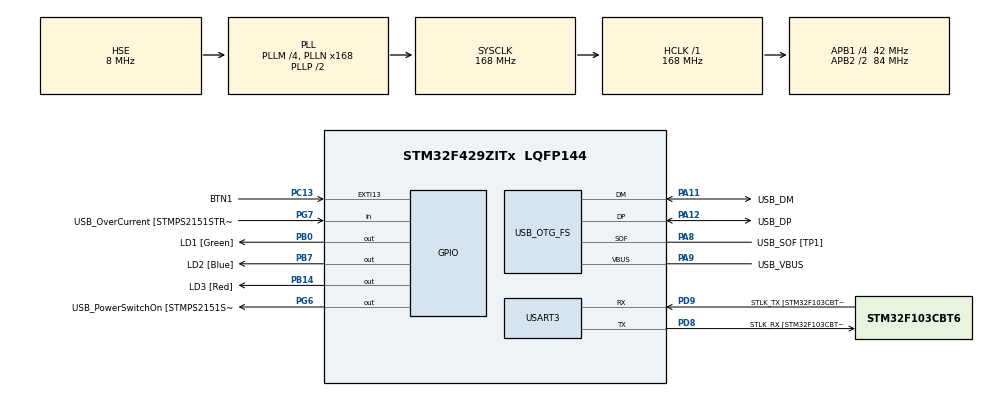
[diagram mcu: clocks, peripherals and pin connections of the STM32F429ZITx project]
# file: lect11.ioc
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Mcu.Family=STM32F4
Mcu.Name=STM32F429ZITx
Mcu.Package=LQFP144
NVIC.OTG_FS_IRQn=true\:0\:0\:false\:false\:true\:false\:true\:true
NVIC.PriorityGroup=NVIC_PRIORITYGROUP_4
PA1.GPIO_Label=RMII_REF_CLK [LAN8742A-CZ-TR_REFCLK0]
PA1.Signal=ETH_REF_CLK
PA10.GPIO_Label=USB_ID
PA10.Signal=USB_OTG_FS_ID
PA11.GPIO_Label=USB_DM
PA11.Mode=Device_Only
PA11.Signal=USB_OTG_FS_DM
PA12.GPIO_Label=USB_DP
PA12.Mode=Device_Only
PA12.Signal=USB_OTG_FS_DP
PA13.GPIO_Label=TMS
PA13.Mode=Serial_Wire
PA13.Signal=SYS_JTMS-SWDIO
PA14.GPIO_Label=TCK
PA14.Mode=Serial_Wire
PA14.Signal=SYS_JTCK-SWCLK
PA2.GPIO_Label=RMII_MDIO [LAN8742A-CZ-TR_MDIO]
PA2.Signal=ETH_MDIO
PA7.GPIO_Label=RMII_CRS_DV [LAN8742A-CZ-TR_CRS_DV]
PA7.Signal=ETH_CRS_DV
PA8.GPIO_Label=USB_SOF [TP1]
PA8.Mode=Activate_SOF_FS
PA8.Signal=USB_OTG_FS_SOF
PA9.GPIO_Label=USB_VBUS
PA9.Mode=Activate_VBUS
PA9.Signal=USB_OTG_FS_VBUS
PB0.GPIO_Label=LD1 [Green]
PB0.Signal=GPIO_Output
PB13.GPIO_Label=RMII_TXD1 [LAN8742A-CZ-TR_TXD1]
PB13.Signal=ETH_TXD1
PB14.GPIO_Label=LD3 [Red]
PB14.Signal=GPIO_Output
PB7.GPIO_Label=LD2 [Blue]
PB7.Signal=GPIO_Output
PC1.GPIO_Label=RMII_MDC [LAN8742A-CZ-TR_MDC]
PC1.Signal=ETH_MDC
PC13.GPIO_Label=BTN1
PC13.Signal=GPXTI13
PC14/OSC32_IN.Mode=LSE-External-Oscillator
PC14/OSC32_IN.Signal=RCC_OSC32_IN
PC15/OSC32_OUT.Mode=LSE-External-Oscillator
PC15/OSC32_OUT.Signal=RCC_OSC32_OUT
PC4.GPIO_Label=RMII_RXD0 [LAN8742A-CZ-TR_RXD0]
PC4.Signal=ETH_RXD0
PC5.GPIO_Label=RMII_RXD1 [LAN8742A-CZ-TR_RXD1]
PC5.Signal=ETH_RXD1
PD8.GPIO_Label=STLK_RX [STM32F103CBT6_PA3]
PD8.Mode=Asynchronous
PD8.Signal=USART3_TX
PD9.GPIO_Label=STLK_TX [STM32F103CBT6_PA2]
PD9.Mode=Asynchronous
PD9.Signal=USART3_RX
PG11.GPIO_Label=RMII_TX_EN [LAN8742A-CZ-TR_TXEN]
PG11.Signal=ETH_TX_EN
PG13.GPIO_Label=RMII_TXD0 [LAN8742A-CZ-TR_TXD0]
PG13.Signal=ETH_TXD0
PG6.GPIO_Label=USB_PowerSwitchOn [STMPS2151STR_EN]
PG6.Signal=GPIO_Output
PG7.GPIO_Label=USB_OverCurrent [STMPS2151STR_FAULT]
PG7.Signal=GPIO_Input
PH0/OSC_IN.GPIO_Label=MCO [STM32F103CBT6_PA8]
PH0/OSC_IN.Mode=HSE-External-Clock-Source
PH0/OSC_IN.Signal=RCC_OSC_IN
PH1/OSC_OUT.Mode=HSE-External-Clock-Source
PH1/OSC_OUT.Signal=RCC_OSC_OUT
ProjectManager.HeapSize=0x200
ProjectManager.StackSize=0x400
ProjectManager.TargetToolchain=STM32CubeIDE
RCC.48MHZClocksFreq_Value=48000000
RCC.AHBFreq_Value=168000000
RCC.APB1CLKDivider=RCC_HCLK_DIV4
RCC.APB1Freq_Value=42000000
RCC.APB1TimFreq_Value=84000000
RCC.APB2CLKDivider=RCC_HCLK_DIV2
RCC.APB2Freq_Value=84000000
RCC.APB2TimCLKDivider=2
RCC.APB2TimFreq_Value=168000000
RCC.CortexFreq_Value=168000000
RCC.HCLKFreq_Value=168000000
RCC.HSE_VALUE=8000000
RCC.HSI_VALUE=16000000
RCC.PLLM=4
RCC.PLLMUL=RCC_PLL_MUL9
RCC.PLLN=168
RCC.PLLQ=7
RCC.PRESCALERUSB=RCC_USBCLKSOURCE_PLL_DIV1_5
RCC.SYSCLKFreq_VALUE=168000000
RCC.SYSCLKSource=RCC_SYSCLKSOURCE_PLLCLK
RCC.SYSCLKSourceVirtual=RCC_SYSCLKSOURCE_PLLCLK
RCC.USBFreq_Value=48000000
RCC.VCOOutputFreq_Value=336000000
USART3.VirtualMode=VM_ASYNC
USB_DEVICE.CLASS_NAME_FS=HID
USB_DEVICE.VirtualMode-HID_FS=Hid
USB_DEVICE.VirtualModeFS=Hid_FS
USB_OTG_FS.VirtualMode=Device_Only
VP_USB_DEVICE_VS_USB_DEVICE_HID_FS.Mode=HID_FS
board=NUCLEO-F429ZI

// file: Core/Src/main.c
/* USER CODE BEGIN Header */
/**
 ******************************************************************************
 * @file           : main.c
 * @brief          : Main program body
 ******************************************************************************
 * @attention
 *
 * Copyright (c) 2024 STMicroelectronics.
 * All rights reserved.
 *
 * This software is licensed under terms that can be found in the LICENSE file
 * in the root directory of this software component.
 * If no LICENSE file comes with this software, it is provided AS-IS.
 *
 ******************************************************************************
 */
/* USER CODE END Header */
#include "main.h"
#include "usb_device.h"

/* USER CODE BEGIN Includes */
#include "usbd_hid.h"
#include "math.h"
/* USER CODE END Includes */

UART_HandleTypeDef huart3;

/* USER CODE BEGIN PV */
extern USBD_HandleTypeDef hUsbDeviceFS;
/* USER CODE END PV */

void SystemClock_Config(void);
static void MX_GPIO_Init(void);
static void MX_USART3_UART_Init(void);

/* USER CODE BEGIN 0 */
void step(int x, int y, uint8_t btn){
	uint8_t buff[4];
	buff[0] = 0x00 | btn; // stiskni leve tlacitko
	buff[1] = (int8_t)(x); // posun X +10
	buff[2] = (int8_t)(y); // posun Y -3
	buff[3] = 0; // bez scrollu
	USBD_HID_SendReport(&hUsbDeviceFS, buff, sizeof(buff));
	HAL_Delay(USBD_HID_GetPollingInterval(&hUsbDeviceFS));
}
void draw_circle(float radius, int px, int py){

	int xx = px;
	int yy = py;

	float x = 0;
	float y = 0;

	for (int i =0; i <= 360;i++){
		x = radius * cos(i*(M_PI/180));
		y = radius * sin(i*(M_PI/180));

		xx = xx - round(x);
		yy = yy - round(y);

		step(x,y,0x01);
	}
	step(0,0,0);

}

void draw_semi_circle(float radius, int px, int py,int startDeg, int stopDeg){

	step(px,py,0);
	int xx = px;
	int yy = py;

	float x = 0;
	float y = 0;

	for (int i =startDeg-1; i <= stopDeg;i++){
		x = radius * cos(i*(M_PI/180));
		y = radius * sin(i*(M_PI/180));

		xx = xx - round(x);
		yy = yy - round(y);

		step(x,y,0x01);
	}
	step(0,0,0);

}
void draw_line(int len, int px, int py,uint8_t vert){
	int x = px;
	int y = py;

	step(px,py,0);

	step(x,y,1);
	if (vert){
		y+=len;
	}else{
		x+=len;
	}
	step(x,y,1);
	step(0,0,0);
}
void mouse(int len, int px, int py,uint8_t vert){
	int x = px;
	int y = py;

	step(px,py,0);

	step(x,y,0);
	if (vert){
		y+=len;
	}else{
		x+=len;
	}
	step(x,y,0);
	step(0,0,0);
}

/* USER CODE END 0 */

int main(void)
{

	/* MCU Configuration--------------------------------------------------------*/

	/* Reset of all peripherals, Initializes the Flash interface and the Systick. */
	HAL_Init();

	/* Configure the system clock */
	SystemClock_Config();

	/* Initialize all configured peripherals */
	MX_GPIO_Init();
	MX_USART3_UART_Init();
	MX_USB_DEVICE_Init();

	/* Infinite loop */
	/* USER CODE BEGIN WHILE */
	while (1)
	{

		if (HAL_GPIO_ReadPin(BTN1_GPIO_Port, BTN1_Pin)){

			draw_circle(6,0,0);
			mouse(0, -20, 15, 1);
			//mouse(5, -15, 5, 0);
			draw_circle(2,0,0);
			mouse(0, 35, 0, 1);
			draw_circle(2,0,0);
			mouse(0, -20, 15, 1);
			draw_line(50,0,0,1);
			mouse(0, 20, 20, 1);
			draw_semi_circle(4, 0, 0,120,250);
			draw_line(100,0,0,0);
			draw_line(40,0,0,0);
			draw_line(10,0,0,1);
			mouse(-10,0,0,1);
			mouse(-100,0,0,0);
			mouse(20,0,0,0);
			draw_line(20,0,0,1);
			draw_line(20,0,0,0);
			mouse(-20,0,0,1);
			draw_line(20,0,0,1);
			mouse(-20,0,0,1);
			mouse(20,0,0,0);
			draw_line(20,0,0,1);
			draw_line(20,0,0,0);
			mouse(-20,0,0,1);
			draw_line(20,0,0,1);

			//draw_line(100,0,0,0);
			//mouse(5, 15, 0, 0);
			//draw_line(10,0,10,0);

		}
		/* USER CODE END WHILE */

	}
}

void SystemClock_Config(void)
{
	RCC_OscInitTypeDef RCC_OscInitStruct = {0};
	RCC_ClkInitTypeDef RCC_ClkInitStruct = {0};

	/** Configure the main internal regulator output voltage
	 */
	__HAL_RCC_PWR_CLK_ENABLE();
	__HAL_PWR_VOLTAGESCALING_CONFIG(PWR_REGULATOR_VOLTAGE_SCALE1);

	/** Initializes the RCC Oscillators according to the specified parameters
	 * in the RCC_OscInitTypeDef structure.
	 */
	RCC_OscInitStruct.OscillatorType = RCC_OSCILLATORTYPE_HSE;
	RCC_OscInitStruct.HSEState = RCC_HSE_BYPASS;
	RCC_OscInitStruct.PLL.PLLState = RCC_PLL_ON;
	RCC_OscInitStruct.PLL.PLLSource = RCC_PLLSOURCE_HSE;
	RCC_OscInitStruct.PLL.PLLM = 4;
	RCC_OscInitStruct.PLL.PLLN = 168;
	RCC_OscInitStruct.PLL.PLLP = RCC_PLLP_DIV2;
	RCC_OscInitStruct.PLL.PLLQ = 7;
	if (HAL_RCC_OscConfig(&RCC_OscInitStruct) != HAL_OK)
	{
		Error_Handler();
	}

	/** Initializes the CPU, AHB and APB buses clocks
	 */
	RCC_ClkInitStruct.ClockType = RCC_CLOCKTYPE_HCLK|RCC_CLOCKTYPE_SYSCLK
			|RCC_CLOCKTYPE_PCLK1|RCC_CLOCKTYPE_PCLK2;
	RCC_ClkInitStruct.SYSCLKSource = RCC_SYSCLKSOURCE_PLLCLK;
	RCC_ClkInitStruct.AHBCLKDivider = RCC_SYSCLK_DIV1;
	RCC_ClkInitStruct.APB1CLKDivider = RCC_HCLK_DIV4;
	RCC_ClkInitStruct.APB2CLKDivider = RCC_HCLK_DIV2;

	if (HAL_RCC_ClockConfig(&RCC_ClkInitStruct, FLASH_LATENCY_5) != HAL_OK)
	{
		Error_Handler();
	}
}

static void MX_USART3_UART_Init(void)
{

	huart3.Instance = USART3;
	huart3.Init.BaudRate = 115200;
	huart3.Init.WordLength = UART_WORDLENGTH_8B;
	huart3.Init.StopBits = UART_STOPBITS_1;
	huart3.Init.Parity = UART_PARITY_NONE;
	huart3.Init.Mode = UART_MODE_TX_RX;
	huart3.Init.HwFlowCtl = UART_HWCONTROL_NONE;
	huart3.Init.OverSampling = UART_OVERSAMPLING_16;
	if (HAL_UART_Init(&huart3) != HAL_OK)
	{
		Error_Handler();
	}

}

static void MX_GPIO_Init(void)
{
	GPIO_InitTypeDef GPIO_InitStruct = {0};

	/* GPIO Ports Clock Enable */
	__HAL_RCC_GPIOC_CLK_ENABLE();
	__HAL_RCC_GPIOH_CLK_ENABLE();
	__HAL_RCC_GPIOA_CLK_ENABLE();
	__HAL_RCC_GPIOB_CLK_ENABLE();
	__HAL_RCC_GPIOD_CLK_ENABLE();
	__HAL_RCC_GPIOG_CLK_ENABLE();

	/*Configure GPIO pin Output Level */
	HAL_GPIO_WritePin(GPIOB, LD1_Pin|LD3_Pin|LD2_Pin, GPIO_PIN_RESET);

	/*Configure GPIO pin Output Level */
	HAL_GPIO_WritePin(USB_PowerSwitchOn_GPIO_Port, USB_PowerSwitchOn_Pin, GPIO_PIN_RESET);

	/*Configure GPIO pin : BTN1_Pin */
	GPIO_InitStruct.Pin = BTN1_Pin;
	GPIO_InitStruct.Mode = GPIO_MODE_IT_RISING;
	GPIO_InitStruct.Pull = GPIO_NOPULL;
	HAL_GPIO_Init(BTN1_GPIO_Port, &GPIO_InitStruct);

	/*Configure GPIO pins : RMII_MDC_Pin RMII_RXD0_Pin RMII_RXD1_Pin */
	GPIO_InitStruct.Pin = RMII_MDC_Pin|RMII_RXD0_Pin|RMII_RXD1_Pin;
	GPIO_InitStruct.Mode = GPIO_MODE_AF_PP;
	GPIO_InitStruct.Pull = GPIO_NOPULL;
	GPIO_InitStruct.Speed = GPIO_SPEED_FREQ_VERY_HIGH;
	GPIO_InitStruct.Alternate = GPIO_AF11_ETH;
	HAL_GPIO_Init(GPIOC, &GPIO_InitStruct);

	/*Configure GPIO pins : RMII_REF_CLK_Pin RMII_MDIO_Pin RMII_CRS_DV_Pin */
	GPIO_InitStruct.Pin = RMII_REF_CLK_Pin|RMII_MDIO_Pin|RMII_CRS_DV_Pin;
	GPIO_InitStruct.Mode = GPIO_MODE_AF_PP;
	GPIO_InitStruct.Pull = GPIO_NOPULL;
	GPIO_InitStruct.Speed = GPIO_SPEED_FREQ_VERY_HIGH;
	GPIO_InitStruct.Alternate = GPIO_AF11_ETH;
	HAL_GPIO_Init(GPIOA, &GPIO_InitStruct);

	/*Configure GPIO pins : LD1_Pin LD3_Pin LD2_Pin */
	GPIO_InitStruct.Pin = LD1_Pin|LD3_Pin|LD2_Pin;
	GPIO_InitStruct.Mode = GPIO_MODE_OUTPUT_PP;
	GPIO_InitStruct.Pull = GPIO_NOPULL;
	GPIO_InitStruct.Speed = GPIO_SPEED_FREQ_LOW;
	HAL_GPIO_Init(GPIOB, &GPIO_InitStruct);

	/*Configure GPIO pin : RMII_TXD1_Pin */
	GPIO_InitStruct.Pin = RMII_TXD1_Pin;
	GPIO_InitStruct.Mode = GPIO_MODE_AF_PP;
	GPIO_InitStruct.Pull = GPIO_NOPULL;
	GPIO_InitStruct.Speed = GPIO_SPEED_FREQ_VERY_HIGH;
	GPIO_InitStruct.Alternate = GPIO_AF11_ETH;
	HAL_GPIO_Init(RMII_TXD1_GPIO_Port, &GPIO_InitStruct);

	/*Configure GPIO pin : USB_PowerSwitchOn_Pin */
	GPIO_InitStruct.Pin = USB_PowerSwitchOn_Pin;
	GPIO_InitStruct.Mode = GPIO_MODE_OUTPUT_PP;
	GPIO_InitStruct.Pull = GPIO_NOPULL;
	GPIO_InitStruct.Speed = GPIO_SPEED_FREQ_LOW;
	HAL_GPIO_Init(USB_PowerSwitchOn_GPIO_Port, &GPIO_InitStruct);

	/*Configure GPIO pin : USB_OverCurrent_Pin */
	GPIO_InitStruct.Pin = USB_OverCurrent_Pin;
	GPIO_InitStruct.Mode = GPIO_MODE_INPUT;
	GPIO_InitStruct.Pull = GPIO_NOPULL;
	HAL_GPIO_Init(USB_OverCurrent_GPIO_Port, &GPIO_InitStruct);

	/*Configure GPIO pins : RMII_TX_EN_Pin RMII_TXD0_Pin */
	GPIO_InitStruct.Pin = RMII_TX_EN_Pin|RMII_TXD0_Pin;
	GPIO_InitStruct.Mode = GPIO_MODE_AF_PP;
	GPIO_InitStruct.Pull = GPIO_NOPULL;
	GPIO_InitStruct.Speed = GPIO_SPEED_FREQ_VERY_HIGH;
	GPIO_InitStruct.Alternate = GPIO_AF11_ETH;
	HAL_GPIO_Init(GPIOG, &GPIO_InitStruct);

}

void Error_Handler(void)
{
	__disable_irq();
	while (1)
	{
	}
}
